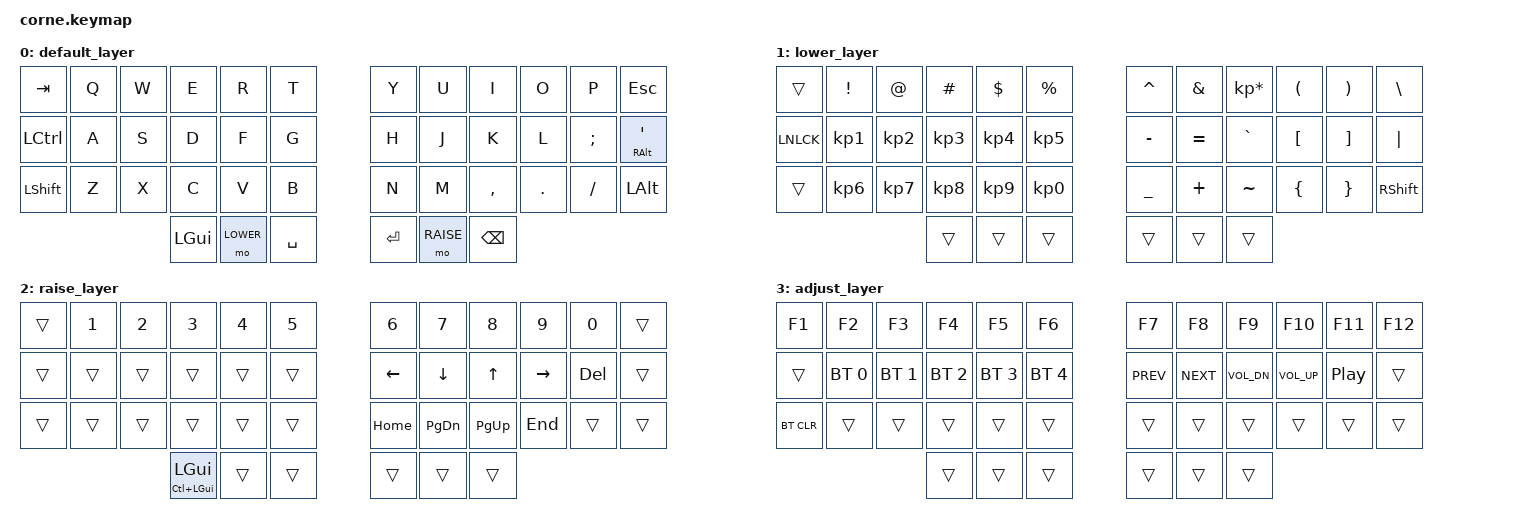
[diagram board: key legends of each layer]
/*
 * Copyright (c) 2020 The ZMK Contributors
 *
 * SPDX-License-Identifier: MIT
 */

#include <behaviors.dtsi>
#include <dt-bindings/zmk/bt.h>
#include <dt-bindings/zmk/keys.h>

#define DEFAULT 0
#define LOWER 1
#define RAISE 2
#define ADJUST 3

/ {
    conditional_layers {
        compatible = "zmk,conditional-layers";

        tri_layer {
            if-layers = <1 2>;
            then-layer = <3>;
        };
    };

    behaviors {
        tp: tap_preferred {
            compatible = "zmk,behavior-hold-tap";
            label = "TAP_PREFERRED";
            #binding-cells = <2>;
            tapping-term-ms = <150>;
            quick-tap-ms = <0>;
            flavor = "tap-preferred";
            bindings = <&kp>, <&kp>;
        };
    };

    keymap {
        compatible = "zmk,keymap";

        default_layer {
            // .--------------------------------------------------------.       .--------------------------------------------------------.
            // |  TAB    |   Q    |    W   |    E   |    R    |    T    |       |    Y   |   U    |   I    |    O   |   P    |  ESC      |
            // |---------+--------+--------+--------+---------+---------|       |--------+--------+--------+--------+--------+-----------|
            // |  LSHFT  |   A    |    S   |    D   |    F    |    G    |       |    H   |   J    |   K    |    L   |   ;    |  ' / RALT |
            // |---------+--------+--------+--------+---------+---------|       |--------+--------+--------+--------+--------+-----------|
            // |  LCTRL  |   Z    |    X   |    C   |    V    |    B    |       |    N   |   M    |   ,    |    .   |   /    |  LALT     |
            // '---------------------------+--------+---------+---------+       |--------+--------+--------+-----------------------------'
            //                             |   GUI  |   LWR   |  SPC    |       |  RET   |  RSA   |  BKSP  |
            //                             '--------+---------+---------'       '--------+--------+--------'

            bindings = <
&kp TAB           &kp Q  &kp W  &kp E     &kp R      &kp T        &kp Y    &kp U      &kp I      &kp O    &kp P     &kp ESC
&kp LEFT_CONTROL  &kp A  &kp S  &kp D     &kp F      &kp G        &kp H    &kp J      &kp K      &kp L    &kp SEMI  &tp RALT SQT
&kp LEFT_SHIFT    &kp Z  &kp X  &kp C     &kp V      &kp B        &kp N    &kp M      &kp COMMA  &kp DOT  &kp FSLH  &kp LALT
                                &kp LGUI  &mo LOWER  &kp SPACE    &kp RET  &mo RAISE  &kp BSPC
            >;
        };

        lower_layer {
            // .--------------------------------------------------------.       .------------------------------------------------------.
            // |         |   !    |    @   |    #   |    $    |    %    |       |    ^   |   &    |   *    |    (   |   )    |    \    |
            // |---------+--------+--------+--------+---------+---------|       |--------+--------+--------+--------+--------+---------|
            // |  NLOCK  |   1    |    2   |    3   |    4    |    5    |       |    -   |   =    |   `    |    [   |   ]    |    |    |
            // |---------+--------+--------+--------+---------+---------|       |--------+--------+--------+--------+--------+---------|
            // |         |   6    |    7   |    8   |    9    |    0    |       |    _   |   +    |   ~    |    {   |   }    |  RSHIFT |
            // '---------------------------+--------+---------+---------+       |--------+--------+--------+---------------------------'
            //                             |        |         |         |       |        |  MO3   |        |
            //                             '--------+---------+---------'       '--------+--------+--------'

            bindings = <
&trans     &kp EXCL   &kp AT     &kp HASH   &kp DLLR   &kp PRCNT    &kp CARET  &kp AMPS   &kp KP_MULTIPLY  &kp LPAR  &kp RPAR  &kp BSLH
&kp LNLCK  &kp KP_N1  &kp KP_N2  &kp KP_N3  &kp KP_N4  &kp KP_N5    &kp MINUS  &kp EQUAL  &kp GRAVE        &kp LBKT  &kp RBKT  &kp PIPE
&trans     &kp KP_N6  &kp KP_N7  &kp KP_N8  &kp KP_N9  &kp KP_N0    &kp UNDER  &kp PLUS   &kp TILDE        &kp LBRC  &kp RBRC  &kp RSHFT
                                 &trans     &trans     &trans       &trans     &trans     &trans
            >;
        };

        raise_layer {
            // .--------------------------------------------------------.       .------------------------------------------------------.
            // |    F1   |   F2   |    F3  |    F4  |    F5   |    F6   |       |   F7   |  F8    |   F9   |   F10  |  F11  |  F12     |
            // |---------+--------+--------+--------+---------+---------|       |--------+--------+--------+--------+--------+---------|
            // |         |        |        |        |         |         |       |   LFT  |  DWN   |   UP   |   RGT  |       |  DEL     |
            // |---------+--------+--------+--------+---------+---------|       |--------+--------+--------+--------+--------+---------|
            // |         |        |        |        |         |         |       |  HOME  | PG_DN  | PG_UP  |   END  |       | PRINTSCR |
            // '---------------------------+--------+---------+---------+       |--------+--------+--------+---------------------------'
            //                             | HYPER  |  MO3    |         |       |        |        |        |
            //                             '--------+---------+---------'       '--------+--------+--------'

            bindings = <
&trans  &kp NUMBER_1  &kp NUMBER_2  &kp NUMBER_3           &kp NUMBER_4  &kp N5    &kp NUMBER_6  &kp N7     &kp N8     &kp N9     &kp N0   &trans
&trans  &trans        &trans        &trans                 &trans        &trans    &kp LEFT      &kp DOWN   &kp UP     &kp RIGHT  &kp DEL  &trans
&trans  &trans        &trans        &trans                 &trans        &trans    &kp HOME      &kp PG_DN  &kp PG_UP  &kp END    &trans   &trans
                                    &tp LC(LGUI) LEFT_GUI  &trans        &trans    &trans        &trans     &trans
            >;
        };

        adjust_layer {
            // .--------------------------------------------------------.       .--------------------------------------------------------------.
            // |  BTCLR  |        |        |        |         |         |       |        |        |         |         |            |           |
            // |---------+--------+--------+--------+---------+---------|       |--------+--------+---------+---------+----------+-------------|
            // |         |  BT1   |  BT2   |  BT3   |  BT4    |  BT5    |       |  Prev  | Next   | Vol -   | Vol +   | Play/Pause |           |
            // |---------+--------+--------+--------+---------+---------|       |--------+--------+---------+---------+----------+-------------|
            // |         |        |        |        |         |         |       |        |        |         |         |            |           |
            // '---------------------------+--------+---------+---------+       |--------+--------+---------+----------------------------------'
            //                             |        |         |         |       |        |        |         |
            //                             '--------+---------+---------'       '--------+--------+---------'

            bindings = <
&kp F1      &kp F2        &kp F3        &kp F4        &kp F5        &kp F6          &kp F7      &kp F8      &kp F9        &kp F10       &kp F11   &kp F12
&trans      &bt BT_SEL 0  &bt BT_SEL 1  &bt BT_SEL 2  &bt BT_SEL 3  &bt BT_SEL 4    &kp C_PREV  &kp C_NEXT  &kp C_VOL_DN  &kp C_VOL_UP  &kp C_PP  &trans
&bt BT_CLR  &trans        &trans        &trans        &trans        &trans          &trans      &trans      &trans        &trans        &trans    &trans
                                        &trans        &trans        &trans          &trans      &trans      &trans
            >;
        };
    };
};
